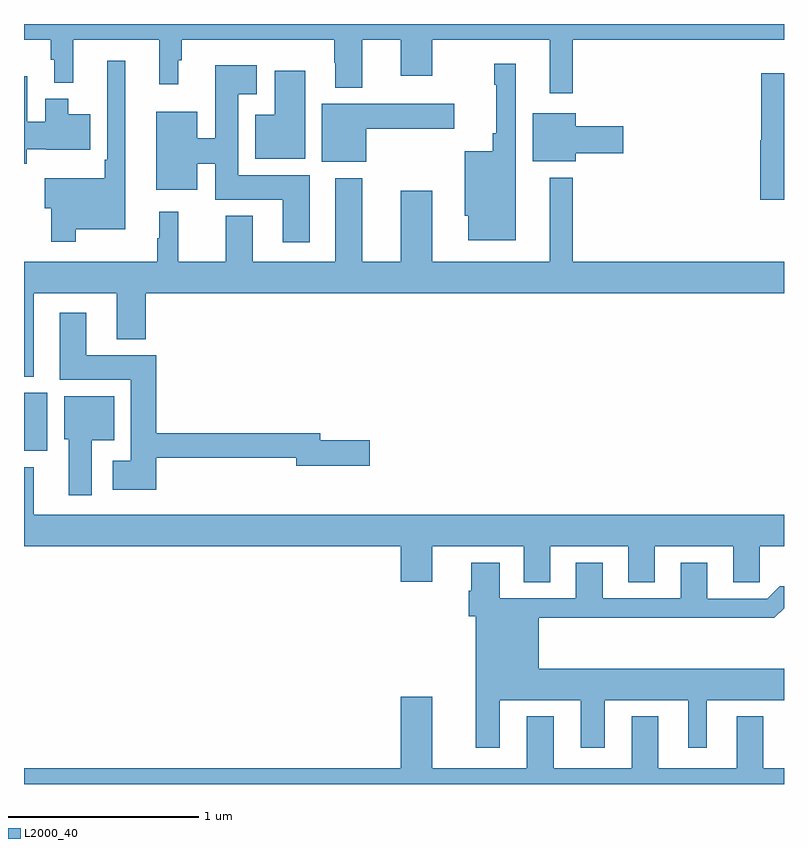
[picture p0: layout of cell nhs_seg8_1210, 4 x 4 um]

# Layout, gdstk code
import gdstk
lib = gdstk.Library(unit=1e-6, precision=1e-09)
def R(c, l, rs):  # rectangles x0, y0, x1, y1
    for r in rs: c.add(gdstk.rectangle(r[:2], r[2:], *l))
def P(c, l, *ps):  # polygons
    for p in ps: c.add(gdstk.Polygon(p, *l))
L2000_40 = (2000, 40)

nhs_seg8_1210 = lib.new_cell('nhs_seg8_1210')
R(nhs_seg8_1210, L2000_40, [(187,1131.653,187.123,1131.958)])
P(nhs_seg8_1210, L2000_40, [(189.889,1133.816),(191,1133.816),(191,1133.9),(187,1133.9),(187,1133.816),(187.141,1133.816),(187.141,1133.713),(187.16,1133.713),(187.16,1133.591),(187.259,1133.591),(187.259,1133.816),(187.712,1133.816),(187.712,1133.583),(187.811,1133.583),(187.811,1133.708),(187.829,1133.708),(187.829,1133.816),(188.632,1133.816),(188.632,1133.696),(188.639,1133.696),(188.639,1133.564),(188.779,1133.564),(188.779,1133.816),(188.984,1133.816),(188.984,1133.628),(189.148,1133.628),(189.148,1133.816),(189.767,1133.816),(189.767,1133.535),(189.889,1133.535)],
  [(187.273,1132.82),(187.534,1132.82),(187.534,1133.707),(187.437,1133.707),(187.437,1133.185),(187.425,1133.185),(187.425,1133.089),(187.11,1133.089),(187.11,1132.931),(187.144,1132.931),(187.144,1132.755),(187.273,1132.755)],
  [(189.589,1133.692),(189.475,1133.692),(189.475,1133.579),(189.485,1133.579),(189.485,1133.326),(189.468,1133.326),(189.468,1133.23),(189.32,1133.23),(189.32,1132.89),(189.338,1132.89),(189.338,1132.763),(189.589,1132.763)],
  [(188.503,1133.104),(188.128,1133.104),(188.128,1133.531),(188.224,1133.531),(188.224,1133.683),(188.006,1133.683),(188.006,1133.3),(187.912,1133.3),(187.912,1133.437),(187.697,1133.437),(187.697,1133.027),(187.912,1133.027),(187.912,1133.164),(188.006,1133.164),(188.006,1132.976),(188.363,1132.976),(188.363,1132.752),(188.503,1132.752)],
  [(188.479,1133.653),(188.321,1133.653),(188.321,1133.422),(188.216,1133.422),(188.216,1133.192),(188.479,1133.192)],
  [(191,1133.641),(190.88,1133.641),(190.88,1133.289),(190.874,1133.289),(190.874,1132.974),(191,1132.974)],
  [(187.014,1133.241),(187.116,1133.241),(187.116,1133.237),(187.348,1133.237),(187.348,1133.425),(187.234,1133.425),(187.234,1133.506),(187.112,1133.506),(187.112,1133.385),(187.018,1133.385),(187.018,1133.626),(187,1133.626),(187,1133.164),(187.014,1133.164)],
  [(188.8,1133.35),(189.265,1133.35),(189.265,1133.479),(188.567,1133.479),(188.567,1133.174),(188.8,1133.174)],
  [(189.904,1133.219),(190.153,1133.219),(190.153,1133.361),(189.904,1133.361),(189.904,1133.431),(189.677,1133.431),(189.677,1133.177),(189.904,1133.177)],
  [(187.051,1132.484),(187.487,1132.484),(187.487,1132.241),(187.64,1132.241),(187.64,1132.484),(191,1132.484),(191,1132.648),(189.889,1132.648),(189.889,1133.092),(189.767,1133.092),(189.767,1132.648),(189.148,1132.648),(189.148,1133.023),(188.984,1133.023),(188.984,1132.648),(188.779,1132.648),(188.779,1133.089),(188.639,1133.089),(188.639,1132.648),(188.203,1132.648),(188.203,1132.891),(188.063,1132.891),(188.063,1132.648),(187.812,1132.648),(187.812,1132.912),(187.712,1132.912),(187.712,1132.772),(187.701,1132.772),(187.701,1132.648),(187,1132.648),(187,1132.043),(187.051,1132.043)],
  [(187.697,1131.618),(188.432,1131.618),(188.432,1131.575),(188.821,1131.575),(188.821,1131.71),(188.56,1131.71),(188.56,1131.746),(187.697,1131.746),(187.697,1132.156),(187.327,1132.156),(187.327,1132.381),(187.187,1132.381),(187.187,1132.028),(187.562,1132.028),(187.562,1131.601),(187.467,1131.601),(187.467,1131.449),(187.697,1131.449)],
  [(187.357,1131.71),(187.474,1131.71),(187.474,1131.94),(187.211,1131.94),(187.211,1131.714),(187.235,1131.714),(187.235,1131.42),(187.357,1131.42)],
  [(189.769,1131.152),(190.181,1131.152),(190.181,1130.962),(190.321,1130.962),(190.321,1131.152),(190.733,1131.152),(190.733,1130.962),(190.872,1130.962),(190.872,1131.152),(191,1131.152),(191,1131.316),(187.051,1131.316),(187.051,1131.568),(187,1131.568),(187,1131.152),(188.984,1131.152),(188.984,1130.964),(189.148,1130.964),(189.148,1131.152),(189.629,1131.152),(189.629,1130.962),(189.769,1130.962)],
  [(189.505,1130.342),(189.929,1130.342),(189.929,1130.091),(190.057,1130.091),(190.057,1130.342),(190.496,1130.342),(190.496,1130.091),(190.594,1130.091),(190.594,1130.342),(191,1130.342),(191,1130.506),(189.709,1130.506),(189.709,1130.776),(190.693,1130.776),(190.693,1130.774),(190.949,1130.774),(191,1130.825),(191,1130.941),(190.978,1130.941),(190.911,1130.874),(190.597,1130.874),(190.597,1131.064),(190.457,1131.064),(190.457,1130.877),(190.045,1130.877),(190.045,1131.064),(189.905,1131.064),(189.905,1130.877),(189.505,1130.877),(189.505,1131.064),(189.353,1131.064),(189.353,1130.918),(189.341,1130.918),(189.341,1130.784),(189.377,1130.784),(189.377,1130.091),(189.505,1130.091)],
  [(189.148,1130.359),(188.984,1130.359),(188.984,1129.984),(187,1129.984),(187,1129.9),(191,1129.9),(191,1129.984),(190.891,1129.984),(190.891,1130.257),(190.751,1130.257),(190.751,1129.984),(190.339,1129.984),(190.339,1130.257),(190.199,1130.257),(190.199,1129.984),(189.787,1129.984),(189.787,1130.257),(189.647,1130.257),(189.647,1129.984),(189.148,1129.984)])

lib.write_gds('nhs_seg8_1210.gds')
